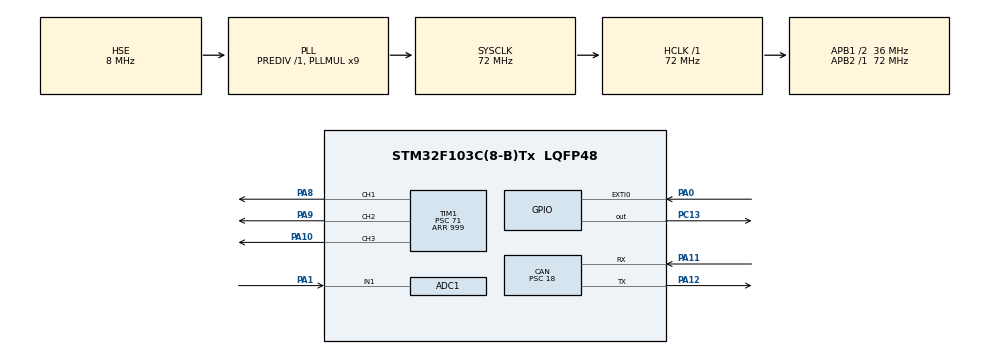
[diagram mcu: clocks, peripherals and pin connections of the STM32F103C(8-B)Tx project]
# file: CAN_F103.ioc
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ADC1.Channel-0\#ChannelRegularConversion=ADC_CHANNEL_1
ADC1.ContinuousConvMode=ENABLE
ADC1.NbrOfConversionFlag=1
ADC1.Rank-0\#ChannelRegularConversion=1
ADC1.SamplingTime-0\#ChannelRegularConversion=ADC_SAMPLETIME_1CYCLE_5
ADC1.master=1
CAN.BS1=CAN_BS1_5TQ
CAN.BS2=CAN_BS2_2TQ
CAN.CalculateBaudRate=250000
CAN.CalculateTimeBit=4000
CAN.CalculateTimeQuantum=500.0
CAN.Prescaler=18
Mcu.Family=STM32F1
Mcu.Name=STM32F103C(8-B)Tx
Mcu.Package=LQFP48
NVIC.EXTI0_IRQn=true\:0\:0\:false\:false\:true\:true\:true\:true
NVIC.PriorityGroup=NVIC_PRIORITYGROUP_0
NVIC.USB_LP_CAN1_RX0_IRQn=true\:0\:1\:false\:false\:true\:true\:true\:true
PA0-WKUP.Signal=GPXTI0
PA1.Signal=ADCx_IN1
PA10.Signal=S_TIM1_CH3
PA11.Mode=CAN_Activate
PA11.Signal=CAN_RX
PA12.Mode=CAN_Activate
PA12.Signal=CAN_TX
PA13.Mode=Serial_Wire
PA13.Signal=SYS_JTMS-SWDIO
PA14.Mode=Serial_Wire
PA14.Signal=SYS_JTCK-SWCLK
PA8.Signal=S_TIM1_CH1
PA9.Signal=S_TIM1_CH2
PC13-TAMPER-RTC.Signal=GPIO_Output
PD0-OSC_IN.Mode=HSE-External-Oscillator
PD0-OSC_IN.Signal=RCC_OSC_IN
PD1-OSC_OUT.Mode=HSE-External-Oscillator
PD1-OSC_OUT.Signal=RCC_OSC_OUT
ProjectManager.HeapSize=0x200
ProjectManager.StackSize=0x400
ProjectManager.TargetToolchain=STM32CubeIDE
RCC.AHBFreq_Value=72000000
RCC.APB1CLKDivider=RCC_HCLK_DIV2
RCC.APB1Freq_Value=36000000
RCC.APB1TimFreq_Value=72000000
RCC.APB2Freq_Value=72000000
RCC.APB2TimFreq_Value=72000000
RCC.HCLKFreq_Value=72000000
RCC.PLLMUL=RCC_PLL_MUL9
RCC.PLLSourceVirtual=RCC_PLLSOURCE_HSE
RCC.SYSCLKFreq_VALUE=72000000
RCC.SYSCLKSource=RCC_SYSCLKSOURCE_PLLCLK
RCC.USBFreq_Value=72000000
SH.ADCx_IN1.0=ADC1_IN1,IN1
SH.S_TIM1_CH1.0=TIM1_CH1,PWM Generation1 CH1
SH.S_TIM1_CH2.0=TIM1_CH2,PWM Generation2 CH2
SH.S_TIM1_CH3.0=TIM1_CH3,PWM Generation3 CH3
TIM1.Channel-PWM\ Generation1\ CH1=TIM_CHANNEL_1
TIM1.Channel-PWM\ Generation2\ CH2=TIM_CHANNEL_2
TIM1.Channel-PWM\ Generation3\ CH3=TIM_CHANNEL_3
TIM1.Period=999
TIM1.Prescaler=71
board=custom

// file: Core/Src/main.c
/* USER CODE BEGIN Header */
/**
  ******************************************************************************
  * @file           : main.c
  * @brief          : Main program body
  ******************************************************************************
  * @attention
  *
  * Copyright (c) 2024 STMicroelectronics.
  * All rights reserved.
  *
  * This software is licensed under terms that can be found in the LICENSE file
  * in the root directory of this software component.
  * If no LICENSE file comes with this software, it is provided AS-IS.
  *
  ******************************************************************************
  */
/* USER CODE END Header */
#include "main.h"

ADC_HandleTypeDef hadc1;

CAN_HandleTypeDef hcan;

TIM_HandleTypeDef htim1;

/* USER CODE BEGIN PV */

CAN_TxHeaderTypeDef pTXHeader;
CAN_TxHeaderTypeDef pTXHeader2;
CAN_TxHeaderTypeDef pTXHeader3;

CAN_RxHeaderTypeDef pRXHeader;
CAN_FilterTypeDef sfilterconfig;
uint32_t pTxMailbox;
uint8_t count;
uint16_t rcount,rcount2,rcount3;
uint8_t adc_value[1]={0};
uint8_t deger=0;
int durum;
int durum2;

uint16_t adcValue = 0;
uint8_t adcValueHigh = 0;
uint8_t adcValueLow = 0;
uint8_t data[8]; // CAN mesajı veri alanı
uint8_t data2[8];
uint8_t data23[8];
/* USER CODE END PV */

void SystemClock_Config(void);
static void MX_GPIO_Init(void);
static void MX_CAN_Init(void);
static void MX_ADC1_Init(void);
static void MX_TIM1_Init(void);

/* USER CODE BEGIN 0 */
void Set_PWM_Duty(uint16_t duty) {
    // 0-255 arası gelen duty değerini 0-999 arası bir değere dönüştür
    uint16_t pulse_length = ((uint32_t)duty * 1000) / 4095; //1khz lik ve 12 bit adc olduğu için pwm değerini ayarlıyor
    TIM1->CCR1 = pulse_length; //değer setlendi
}
void Set_PWM_Duty2(uint16_t duty) {
    // 0-255 arası gelen duty değerini 0-999 arası bir değere dönüştür
    uint16_t pulse_length = ((uint32_t)duty * 1000) / 4095; //1khz lik ve 12 bit adc olduğu için pwm değerini ayarlıyor
    TIM1->CCR2 = pulse_length; //değer setlendi
}
void Set_PWM_Duty3(uint16_t duty) {
    // 0-255 arası gelen duty değerini 0-999 arası bir değere dönüştür
    uint16_t pulse_length = ((uint32_t)duty * 1000) / 4095; //1khz lik ve 12 bit adc olduğu için pwm değerini ayarlıyor
    TIM1->CCR3 = pulse_length; //değer setlendi
}
/* USER CODE END 0 */

int main(void)
{

  /* MCU Configuration--------------------------------------------------------*/

  /* Reset of all peripherals, Initializes the Flash interface and the Systick. */
  HAL_Init();

  /* Configure the system clock */
  SystemClock_Config();

  /* Initialize all configured peripherals */
  MX_GPIO_Init();
  MX_CAN_Init();
  MX_ADC1_Init();
  MX_TIM1_Init();
  /* USER CODE BEGIN 2 */

	HAL_GPIO_WritePin(GPIOC, GPIO_PIN_13, 1);

  //Can baslatildi
  HAL_CAN_Start(&hcan);
  //interrupt için aktif edilme
  HAL_CAN_ActivateNotification(&hcan, CAN_IT_RX_FIFO0_MSG_PENDING); //mesaj geldi mesaj bekleniyor

  pTXHeader.DLC=1;  //1byte lık değer geldiğini ifade eder
  pTXHeader.IDE=CAN_ID_STD; //standart ID kullanılıcağı belirtir
  pTXHeader.RTR=CAN_RTR_DATA; //data gönderilmesini transmit yapıldığını belirtir
  pTXHeader.StdId=0x0156; //mesage ID numarasıdır

  pTXHeader2.DLC=1;
  pTXHeader2.IDE=CAN_ID_STD;
  pTXHeader2.RTR=CAN_RTR_DATA;
  pTXHeader2.StdId=0x0158;

  pTXHeader3.DLC=1;
  pTXHeader3.IDE=CAN_ID_STD;
  pTXHeader3.RTR=CAN_RTR_DATA;
  pTXHeader3.StdId=0x0160;

  sfilterconfig.FilterActivation=ENABLE;
  sfilterconfig.FilterBank=0;
  sfilterconfig.FilterFIFOAssignment=CAN_FILTER_FIFO0;
  sfilterconfig.FilterIdHigh=0x0000;
  sfilterconfig.FilterIdLow=0x0000;
  sfilterconfig.FilterMaskIdHigh=0x0000;
  sfilterconfig.FilterMaskIdLow=0x0000;
  sfilterconfig.FilterMode=CAN_FILTERMODE_IDMASK;
  sfilterconfig.FilterScale=CAN_FILTERSCALE_32BIT;

  HAL_CAN_ConfigFilter(&hcan, &sfilterconfig);
  HAL_TIM_PWM_Start(&htim1, TIM_CHANNEL_1);
  HAL_TIM_PWM_Start(&htim1, TIM_CHANNEL_2);
  HAL_TIM_PWM_Start(&htim1, TIM_CHANNEL_3);

  /* USER CODE END 2 */

  /* Infinite loop */
  while (1)
  {

    /* USER CODE BEGIN 3 */
	 //HAL_ADC_Start(&hadc1);
 //deger =(uint8_t)(HAL_ADC_GetValue(&hadc1));
	  // ADC değerini okuyun

	 //adcValue = HAL_ADC_GetValue(&hadc1);

	  // 12 bitlik ADC değerini iki 8 bitlik parçaya bölün
	  //adcValueHigh = (adcValue >> 4) & 0xFF; // Yüksek 8 bit 12 bitlik veriyi 8 ve 4 bit paketliyor
	  //adcValueLow = (adcValue & 0x0F) << 4;  // Düşük 4 bit

	  //data[0] = adcValueHigh; //gönderilmesi için değerleri dizide tutuyor
	  //data[1] = adcValueLow;

//      HAL_CAN_AddTxMessage(&hcan, &pTXHeader, data, &pTxMailbox); //bu iki değeri gönderiyor
	//  HAL_CAN_AddTxMessage(&hcan, &pTXHeader2, data, &pTxMailbox);
	  //HAL_CAN_AddTxMessage(&hcan, &pTXHeader3, data, &pTxMailbox);
	 // adcValueHigh = data[0]; //okunan data değerleri 8 ve 4 bit olarak toplam 12 bit oluyor
	  //adcValueLow = data[1];

	 // 12 bitlik ADC değerini yeniden oluşturun
	 //rcount = (adcValueHigh << 4) | (adcValueLow >> 4); // değerleri toplayarak 16 bitlik değeşkene 12 bitlik adc değeri olcak şekilde atıyor

     Set_PWM_Duty(rcount); //pwm fonksiyonuna bu değeri gönderiyor
     Set_PWM_Duty2(rcount2);
     Set_PWM_Duty3(rcount3);

  }
  /* USER CODE END 3 */
}

void SystemClock_Config(void)
{
  RCC_OscInitTypeDef RCC_OscInitStruct = {0};
  RCC_ClkInitTypeDef RCC_ClkInitStruct = {0};
  RCC_PeriphCLKInitTypeDef PeriphClkInit = {0};

  /** Initializes the RCC Oscillators according to the specified parameters
  * in the RCC_OscInitTypeDef structure.
  */
  RCC_OscInitStruct.OscillatorType = RCC_OSCILLATORTYPE_HSE;
  RCC_OscInitStruct.HSEState = RCC_HSE_ON;
  RCC_OscInitStruct.HSEPredivValue = RCC_HSE_PREDIV_DIV1;
  RCC_OscInitStruct.HSIState = RCC_HSI_ON;
  RCC_OscInitStruct.PLL.PLLState = RCC_PLL_ON;
  RCC_OscInitStruct.PLL.PLLSource = RCC_PLLSOURCE_HSE;
  RCC_OscInitStruct.PLL.PLLMUL = RCC_PLL_MUL9;
  if (HAL_RCC_OscConfig(&RCC_OscInitStruct) != HAL_OK)
  {
    Error_Handler();
  }

  /** Initializes the CPU, AHB and APB buses clocks
  */
  RCC_ClkInitStruct.ClockType = RCC_CLOCKTYPE_HCLK|RCC_CLOCKTYPE_SYSCLK
                              |RCC_CLOCKTYPE_PCLK1|RCC_CLOCKTYPE_PCLK2;
  RCC_ClkInitStruct.SYSCLKSource = RCC_SYSCLKSOURCE_PLLCLK;
  RCC_ClkInitStruct.AHBCLKDivider = RCC_SYSCLK_DIV1;
  RCC_ClkInitStruct.APB1CLKDivider = RCC_HCLK_DIV2;
  RCC_ClkInitStruct.APB2CLKDivider = RCC_HCLK_DIV1;

  if (HAL_RCC_ClockConfig(&RCC_ClkInitStruct, FLASH_LATENCY_2) != HAL_OK)
  {
    Error_Handler();
  }
  PeriphClkInit.PeriphClockSelection = RCC_PERIPHCLK_ADC;
  PeriphClkInit.AdcClockSelection = RCC_ADCPCLK2_DIV2;
  if (HAL_RCCEx_PeriphCLKConfig(&PeriphClkInit) != HAL_OK)
  {
    Error_Handler();
  }
}

static void MX_ADC1_Init(void)
{

  ADC_ChannelConfTypeDef sConfig = {0};

  /** Common config
  */
  hadc1.Instance = ADC1;
  hadc1.Init.ScanConvMode = ADC_SCAN_DISABLE;
  hadc1.Init.ContinuousConvMode = ENABLE;
  hadc1.Init.DiscontinuousConvMode = DISABLE;
  hadc1.Init.ExternalTrigConv = ADC_SOFTWARE_START;
  hadc1.Init.DataAlign = ADC_DATAALIGN_RIGHT;
  hadc1.Init.NbrOfConversion = 1;
  if (HAL_ADC_Init(&hadc1) != HAL_OK)
  {
    Error_Handler();
  }

  /** Configure Regular Channel
  */
  sConfig.Channel = ADC_CHANNEL_1;
  sConfig.Rank = ADC_REGULAR_RANK_1;
  sConfig.SamplingTime = ADC_SAMPLETIME_1CYCLE_5;
  if (HAL_ADC_ConfigChannel(&hadc1, &sConfig) != HAL_OK)
  {
    Error_Handler();
  }

}

static void MX_CAN_Init(void)
{

  hcan.Instance = CAN1;
  hcan.Init.Prescaler = 18;
  hcan.Init.Mode = CAN_MODE_NORMAL;
  hcan.Init.SyncJumpWidth = CAN_SJW_1TQ;
  hcan.Init.TimeSeg1 = CAN_BS1_5TQ;
  hcan.Init.TimeSeg2 = CAN_BS2_2TQ;
  hcan.Init.TimeTriggeredMode = DISABLE;
  hcan.Init.AutoBusOff = DISABLE;
  hcan.Init.AutoWakeUp = DISABLE;
  hcan.Init.AutoRetransmission = DISABLE;
  hcan.Init.ReceiveFifoLocked = DISABLE;
  hcan.Init.TransmitFifoPriority = DISABLE;
  if (HAL_CAN_Init(&hcan) != HAL_OK)
  {
    Error_Handler();
  }

}

static void MX_TIM1_Init(void)
{

  TIM_MasterConfigTypeDef sMasterConfig = {0};
  TIM_OC_InitTypeDef sConfigOC = {0};
  TIM_BreakDeadTimeConfigTypeDef sBreakDeadTimeConfig = {0};

  htim1.Instance = TIM1;
  htim1.Init.Prescaler = 71;
  htim1.Init.CounterMode = TIM_COUNTERMODE_UP;
  htim1.Init.Period = 999;
  htim1.Init.ClockDivision = TIM_CLOCKDIVISION_DIV1;
  htim1.Init.RepetitionCounter = 0;
  htim1.Init.AutoReloadPreload = TIM_AUTORELOAD_PRELOAD_DISABLE;
  if (HAL_TIM_PWM_Init(&htim1) != HAL_OK)
  {
    Error_Handler();
  }
  sMasterConfig.MasterOutputTrigger = TIM_TRGO_RESET;
  sMasterConfig.MasterSlaveMode = TIM_MASTERSLAVEMODE_DISABLE;
  if (HAL_TIMEx_MasterConfigSynchronization(&htim1, &sMasterConfig) != HAL_OK)
  {
    Error_Handler();
  }
  sConfigOC.OCMode = TIM_OCMODE_PWM1;
  sConfigOC.Pulse = 0;
  sConfigOC.OCPolarity = TIM_OCPOLARITY_HIGH;
  sConfigOC.OCNPolarity = TIM_OCNPOLARITY_HIGH;
  sConfigOC.OCFastMode = TIM_OCFAST_DISABLE;
  sConfigOC.OCIdleState = TIM_OCIDLESTATE_RESET;
  sConfigOC.OCNIdleState = TIM_OCNIDLESTATE_RESET;
  if (HAL_TIM_PWM_ConfigChannel(&htim1, &sConfigOC, TIM_CHANNEL_1) != HAL_OK)
  {
    Error_Handler();
  }
  if (HAL_TIM_PWM_ConfigChannel(&htim1, &sConfigOC, TIM_CHANNEL_2) != HAL_OK)
  {
    Error_Handler();
  }
  if (HAL_TIM_PWM_ConfigChannel(&htim1, &sConfigOC, TIM_CHANNEL_3) != HAL_OK)
  {
    Error_Handler();
  }
  sBreakDeadTimeConfig.OffStateRunMode = TIM_OSSR_DISABLE;
  sBreakDeadTimeConfig.OffStateIDLEMode = TIM_OSSI_DISABLE;
  sBreakDeadTimeConfig.LockLevel = TIM_LOCKLEVEL_OFF;
  sBreakDeadTimeConfig.DeadTime = 0;
  sBreakDeadTimeConfig.BreakState = TIM_BREAK_DISABLE;
  sBreakDeadTimeConfig.BreakPolarity = TIM_BREAKPOLARITY_HIGH;
  sBreakDeadTimeConfig.AutomaticOutput = TIM_AUTOMATICOUTPUT_DISABLE;
  if (HAL_TIMEx_ConfigBreakDeadTime(&htim1, &sBreakDeadTimeConfig) != HAL_OK)
  {
    Error_Handler();
  }
  HAL_TIM_MspPostInit(&htim1);

}

static void MX_GPIO_Init(void)
{
  GPIO_InitTypeDef GPIO_InitStruct = {0};

  /* GPIO Ports Clock Enable */
  __HAL_RCC_GPIOC_CLK_ENABLE();
  __HAL_RCC_GPIOD_CLK_ENABLE();
  __HAL_RCC_GPIOA_CLK_ENABLE();

  /*Configure GPIO pin Output Level */
  HAL_GPIO_WritePin(GPIOC, GPIO_PIN_13, GPIO_PIN_RESET);

  /*Configure GPIO pin : PC13 */
  GPIO_InitStruct.Pin = GPIO_PIN_13;
  GPIO_InitStruct.Mode = GPIO_MODE_OUTPUT_PP;
  GPIO_InitStruct.Pull = GPIO_NOPULL;
  GPIO_InitStruct.Speed = GPIO_SPEED_FREQ_LOW;
  HAL_GPIO_Init(GPIOC, &GPIO_InitStruct);

  /*Configure GPIO pin : PA0 */
  GPIO_InitStruct.Pin = GPIO_PIN_0;
  GPIO_InitStruct.Mode = GPIO_MODE_IT_RISING;
  GPIO_InitStruct.Pull = GPIO_NOPULL;
  HAL_GPIO_Init(GPIOA, &GPIO_InitStruct);

  /* EXTI interrupt init*/
  HAL_NVIC_SetPriority(EXTI0_IRQn, 0, 0);
  HAL_NVIC_EnableIRQ(EXTI0_IRQn);

}

void Error_Handler(void)
{
  __disable_irq();
  while (1)
  {
  }
}
